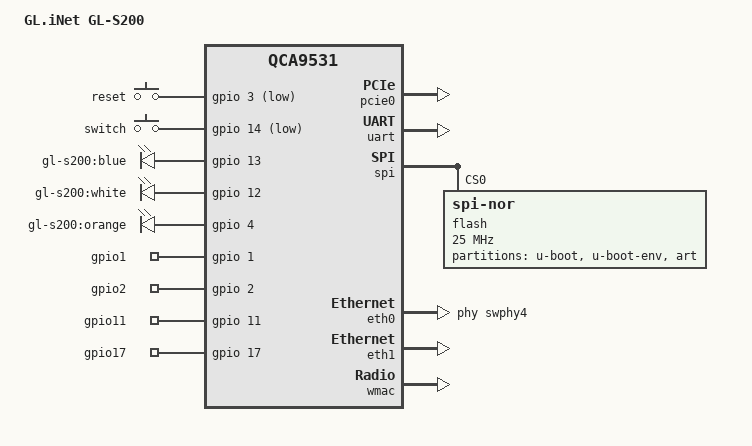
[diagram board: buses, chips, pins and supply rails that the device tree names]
// SPDX-License-Identifier: GPL-2.0-or-later OR MIT
/dts-v1/;

#include <dt-bindings/gpio/gpio.h>
#include <dt-bindings/input/input.h>

#include "qca953x.dtsi"

/ {
	compatible = "glinet,gl-s200", "qca,qca9531";
	model = "GL.iNet GL-S200";

	aliases {
		label-mac-device = &eth0;
	};

	keys {
		compatible = "gpio-keys";

		pinctrl-names = "default";
		pinctrl-0 = <&jtag_disable_pins>;

		reset {
			label = "reset";
			linux,code = <KEY_RESTART>;
			linux,input-type = <EV_KEY>;
			gpios = <&gpio 3 GPIO_ACTIVE_LOW>;
		};

		switch {
			label = "switch";
			linux,code = <KEY_SETUP>;
			linux,input-type = <EV_SW>;
			gpios = <&gpio 14 GPIO_ACTIVE_LOW>;
		};
	};

	leds {
		compatible = "gpio-leds";

		blue_led {
			label = "gl-s200:blue";
			gpios = <&gpio 13 GPIO_ACTIVE_HIGH>;
			default-state = "on";
		};

		white_led {
			label = "gl-s200:white";
			gpios = <&gpio 12 GPIO_ACTIVE_HIGH>;
			default-state = "off";
		};

		orange_led {
			label = "gl-s200:orange";
			gpios = <&gpio 4 GPIO_ACTIVE_HIGH>;
			default-state = "off";
		};
	};

	gpio-export {
		compatible = "gpio-export";

		gpio_zigbee_reset {
			gpio-export,name = "gpio1";
			gpio-export,output = <1>;
			gpio-export,direction_may_change;
			gpios = <&gpio 1 GPIO_ACTIVE_HIGH>;
		};

		gpio_zwave_reset {
			gpio-export,name = "gpio2";
			gpio-export,output = <1>;
			gpio-export,direction_may_change;
			gpios = <&gpio 2 GPIO_ACTIVE_HIGH>;
		};

		gpio_zigbee_upgrade {
			gpio-export,name = "gpio11";
			gpio-export,output = <1>;
			gpio-export,direction_may_change;
			gpios = <&gpio 11 GPIO_ACTIVE_HIGH>;
		};

		gpio_zwave_upgrade {
			gpio-export,name = "gpio17";
			gpio-export,output = <1>;
			gpio-export,direction_may_change;
			gpios = <&gpio 17 GPIO_ACTIVE_HIGH>;
		};
	 };
};

&gpio {
	ngpios = <17>;
	gpio-line-names =
		"","reset-zigbee","reset-zwave","reset",
		"LED-orange","","","","","","",
		"upgrade-zigbee","LED-white","LED-blue",
		"switch","","","upgrade-zwave";
};

&pcie0 {
	status = "okay";
};

&uart {
	status = "okay";
};

&spi {
	status = "okay";

	flash@0 {
		compatible = "jedec,spi-nor";
		reg = <0>;
		spi-max-frequency = <25000000>;

		nor_partitions: partitions {
			compatible = "fixed-partitions";
			#address-cells = <1>;
			#size-cells = <1>;

			partition@0 {
				label = "u-boot";
				reg = <0x000000 0x040000>;
				read-only;
			};

			partition@40000 {
				label = "u-boot-env";
				reg = <0x040000 0x010000>;
			};

			art: partition@50000 {
				label = "art";
				reg = <0x050000 0x010000>;
				read-only;

				compatible = "nvmem-cells";

				nvmem-layout {
					compatible = "fixed-layout";
					#address-cells = <1>;
					#size-cells = <1>;

					macaddr_wan_lan: macaddr@0 {
						compatible = "mac-base";
						reg = <0x0 0x6>;
						#nvmem-cell-cells = <1>;
					};

					calibration_art_1000: calibration@1000 {
						reg = <0x1000 0x440>;
					};
				};
			};
		};
	};

	flash_nand: flash@1 {
		compatible = "spi-nand";
		reg = <1>;
		spi-max-frequency = <25000000>;
		status = "disabled";
		
		nand_partitions: partitions {
			compatible = "fixed-partitions";
			#address-cells = <1>;
			#size-cells = <1>;

			nand_ubi: partition@0 {
				label = "ubi";
				reg = <0x000000 0x8000000>;
			};
		};
	};
};

&eth0 {
	status = "okay";

	phy-handle = <&swphy4>;

	nvmem-cells = <&macaddr_wan_lan 0>;
	nvmem-cell-names = "mac-address";
};

&eth1 {
	status = "okay";

	nvmem-cells = <&macaddr_wan_lan 1>;
	nvmem-cell-names = "mac-address";
};

&wmac {
	status = "okay";
	nvmem-cells = <&calibration_art_1000>;
	nvmem-cell-names = "calibration";
};
